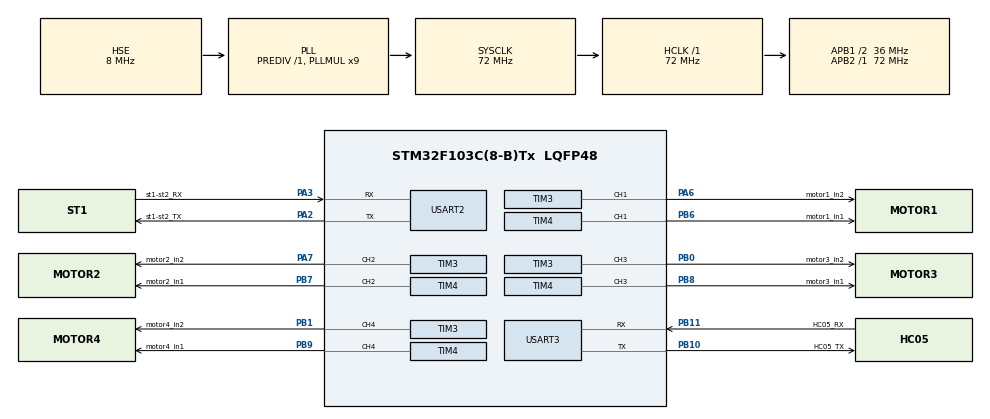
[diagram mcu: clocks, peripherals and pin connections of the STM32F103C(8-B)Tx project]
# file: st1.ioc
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Dma.Request0=USART3_RX
Dma.Request1=USART2_TX
Dma.Request2=USART2_RX
Dma.Request3=USART3_TX
Dma.USART2_RX.2.Direction=DMA_PERIPH_TO_MEMORY
Dma.USART2_RX.2.Instance=DMA1_Channel6
Dma.USART2_RX.2.MemDataAlignment=DMA_MDATAALIGN_BYTE
Dma.USART2_RX.2.MemInc=DMA_MINC_ENABLE
Dma.USART2_RX.2.Mode=DMA_NORMAL
Dma.USART2_RX.2.PeriphDataAlignment=DMA_PDATAALIGN_BYTE
Dma.USART2_RX.2.PeriphInc=DMA_PINC_DISABLE
Dma.USART2_RX.2.Priority=DMA_PRIORITY_LOW
Dma.USART2_TX.1.Direction=DMA_MEMORY_TO_PERIPH
Dma.USART2_TX.1.Instance=DMA1_Channel7
Dma.USART2_TX.1.MemDataAlignment=DMA_MDATAALIGN_BYTE
Dma.USART2_TX.1.MemInc=DMA_MINC_ENABLE
Dma.USART2_TX.1.Mode=DMA_NORMAL
Dma.USART2_TX.1.PeriphDataAlignment=DMA_PDATAALIGN_BYTE
Dma.USART2_TX.1.PeriphInc=DMA_PINC_DISABLE
Dma.USART2_TX.1.Priority=DMA_PRIORITY_LOW
Dma.USART3_RX.0.Direction=DMA_PERIPH_TO_MEMORY
Dma.USART3_RX.0.Instance=DMA1_Channel3
Dma.USART3_RX.0.MemDataAlignment=DMA_MDATAALIGN_BYTE
Dma.USART3_RX.0.MemInc=DMA_MINC_ENABLE
Dma.USART3_RX.0.Mode=DMA_NORMAL
Dma.USART3_RX.0.PeriphDataAlignment=DMA_PDATAALIGN_BYTE
Dma.USART3_RX.0.PeriphInc=DMA_PINC_DISABLE
Dma.USART3_RX.0.Priority=DMA_PRIORITY_LOW
Dma.USART3_TX.3.Direction=DMA_MEMORY_TO_PERIPH
Dma.USART3_TX.3.Instance=DMA1_Channel2
Dma.USART3_TX.3.MemDataAlignment=DMA_MDATAALIGN_BYTE
Dma.USART3_TX.3.MemInc=DMA_MINC_ENABLE
Dma.USART3_TX.3.Mode=DMA_NORMAL
Dma.USART3_TX.3.PeriphDataAlignment=DMA_PDATAALIGN_BYTE
Dma.USART3_TX.3.PeriphInc=DMA_PINC_DISABLE
Dma.USART3_TX.3.Priority=DMA_PRIORITY_LOW
Mcu.Family=STM32F1
Mcu.Name=STM32F103C(8-B)Tx
Mcu.Package=LQFP48
NVIC.DMA1_Channel2_IRQn=true\:0\:0\:false\:false\:true\:false\:true\:true
NVIC.DMA1_Channel3_IRQn=true\:0\:0\:false\:false\:true\:false\:true\:true
NVIC.DMA1_Channel6_IRQn=true\:0\:0\:false\:false\:true\:false\:true\:true
NVIC.DMA1_Channel7_IRQn=true\:0\:0\:false\:false\:true\:false\:true\:true
NVIC.PriorityGroup=NVIC_PRIORITYGROUP_4
NVIC.USART2_IRQn=true\:0\:0\:false\:false\:true\:false\:true\:true
NVIC.USART3_IRQn=true\:0\:0\:false\:false\:true\:false\:true\:true
PA13.Mode=Serial_Wire
PA13.Signal=SYS_JTMS-SWDIO
PA14.Mode=Serial_Wire
PA14.Signal=SYS_JTCK-SWCLK
PA2.GPIO_Label=st1-st2_TX
PA2.Mode=Asynchronous
PA2.Signal=USART2_TX
PA3.GPIO_Label=st1-st2_RX
PA3.Mode=Asynchronous
PA3.Signal=USART2_RX
PA6.GPIO_Label=motor1_in2
PA6.Signal=S_TIM3_CH1
PA7.GPIO_Label=motor2_in2
PA7.Signal=S_TIM3_CH2
PB0.GPIO_Label=motor3_in2
PB0.Signal=S_TIM3_CH3
PB1.GPIO_Label=motor4_in2
PB1.Signal=S_TIM3_CH4
PB10.GPIO_Label=HC05_TX
PB10.Mode=Asynchronous
PB10.Signal=USART3_TX
PB11.GPIO_Label=HC05_RX
PB11.Mode=Asynchronous
PB11.Signal=USART3_RX
PB6.GPIO_Label=motor1_in1
PB6.Signal=S_TIM4_CH1
PB7.GPIO_Label=motor2_in1
PB7.Signal=S_TIM4_CH2
PB8.GPIO_Label=motor3_in1
PB8.Signal=S_TIM4_CH3
PB9.GPIO_Label=motor4_in1
PB9.Signal=S_TIM4_CH4
PD0-OSC_IN.Mode=HSE-External-Oscillator
PD0-OSC_IN.Signal=RCC_OSC_IN
PD1-OSC_OUT.Mode=HSE-External-Oscillator
PD1-OSC_OUT.Signal=RCC_OSC_OUT
ProjectManager.HeapSize=0x200
ProjectManager.StackSize=0x400
ProjectManager.TargetToolchain=CMake
RCC.AHBFreq_Value=72000000
RCC.APB1CLKDivider=RCC_HCLK_DIV2
RCC.APB1Freq_Value=36000000
RCC.APB1TimFreq_Value=72000000
RCC.APB2Freq_Value=72000000
RCC.APB2TimFreq_Value=72000000
RCC.HCLKFreq_Value=72000000
RCC.PLLMUL=RCC_PLL_MUL9
RCC.PLLSourceVirtual=RCC_PLLSOURCE_HSE
RCC.SYSCLKFreq_VALUE=72000000
RCC.SYSCLKSource=RCC_SYSCLKSOURCE_PLLCLK
RCC.USBFreq_Value=72000000
SH.S_TIM3_CH1.0=TIM3_CH1,PWM Generation1 CH1
SH.S_TIM3_CH2.0=TIM3_CH2,PWM Generation2 CH2
SH.S_TIM3_CH3.0=TIM3_CH3,PWM Generation3 CH3
SH.S_TIM3_CH4.0=TIM3_CH4,PWM Generation4 CH4
SH.S_TIM4_CH1.0=TIM4_CH1,PWM Generation1 CH1
SH.S_TIM4_CH2.0=TIM4_CH2,PWM Generation2 CH2
SH.S_TIM4_CH3.0=TIM4_CH3,PWM Generation3 CH3
SH.S_TIM4_CH4.0=TIM4_CH4,PWM Generation4 CH4
TIM3.Channel-PWM\ Generation1\ CH1=TIM_CHANNEL_1
TIM3.Channel-PWM\ Generation2\ CH2=TIM_CHANNEL_2
TIM3.Channel-PWM\ Generation3\ CH3=TIM_CHANNEL_3
TIM3.Channel-PWM\ Generation4\ CH4=TIM_CHANNEL_4
TIM3.OCFastMode_PWM-PWM\ Generation1\ CH1=TIM_OCFAST_DISABLE
TIM3.OCFastMode_PWM-PWM\ Generation2\ CH2=TIM_OCFAST_DISABLE
TIM3.Period=99
TIM3.Prescaler=71
TIM4.Channel-PWM\ Generation1\ CH1=TIM_CHANNEL_1
TIM4.Channel-PWM\ Generation2\ CH2=TIM_CHANNEL_2
TIM4.Channel-PWM\ Generation3\ CH3=TIM_CHANNEL_3
TIM4.Channel-PWM\ Generation4\ CH4=TIM_CHANNEL_4
TIM4.Period=99
TIM4.Prescaler=71
USART2.VirtualMode=VM_ASYNC
USART3.VirtualMode=VM_ASYNC
VP_TIM3_VS_ClockSourceINT.Mode=Internal
VP_TIM4_VS_ClockSourceINT.Mode=Internal
board=custom

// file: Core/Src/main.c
/* USER CODE BEGIN Header */
/**
  ******************************************************************************
  * @file           : main.c
  * @brief          : Main program body
  ******************************************************************************
  * @attention
  *
  * Copyright (c) 2025 STMicroelectronics.
  * All rights reserved.
  *
  * This software is licensed under terms that can be found in the LICENSE file
  * in the root directory of this software component.
  * If no LICENSE file comes with this software, it is provided AS-IS.
  *
  ******************************************************************************
  */
/* USER CODE END Header */
#include "main.h"
#include "dma.h"
#include "stm32f1xx_hal.h"
#include "tim.h"
#include "usart.h"
#include "gpio.h"

/* USER CODE BEGIN Includes */
#include "chassis.h"
#include "communication.h"
#include <sys/types.h>
/* USER CODE END Includes */

void SystemClock_Config(void);

/* USER CODE BEGIN 0 */
void robot_init(){
  chassis_init();
  communication_init();
}
void robot_run()
{
  parse_hc05_protocol_data(uart_receivemessage,PACKET_LENGTH);
  send_mcn_data(uart_receivemessage,PACKET_LENGTH);
  comm_change_chassis();
  chassis_motion();
  HAL_Delay(DELAY_TIME);
}
/* USER CODE END 0 */

int main(void)
{

  /* MCU Configuration--------------------------------------------------------*/

  /* Reset of all peripherals, Initializes the Flash interface and the Systick. */
  HAL_Init();

  /* Configure the system clock */
  SystemClock_Config();

  /* Initialize all configured peripherals */
  MX_GPIO_Init();
  MX_DMA_Init();
  MX_TIM4_Init();
  MX_USART2_UART_Init();
  MX_USART3_UART_Init();
  MX_TIM3_Init();
  /* USER CODE BEGIN 2 */
  robot_init();
  communication_start();
  HAL_Delay(500);
  /* USER CODE END 2 */

  /* Infinite loop */
  while (1)
  {
    robot_run();
  }
}

void SystemClock_Config(void)
{
  RCC_OscInitTypeDef RCC_OscInitStruct = {0};
  RCC_ClkInitTypeDef RCC_ClkInitStruct = {0};

  /** Initializes the RCC Oscillators according to the specified parameters
  * in the RCC_OscInitTypeDef structure.
  */
  RCC_OscInitStruct.OscillatorType = RCC_OSCILLATORTYPE_HSE;
  RCC_OscInitStruct.HSEState = RCC_HSE_ON;
  RCC_OscInitStruct.HSEPredivValue = RCC_HSE_PREDIV_DIV1;
  RCC_OscInitStruct.HSIState = RCC_HSI_ON;
  RCC_OscInitStruct.PLL.PLLState = RCC_PLL_ON;
  RCC_OscInitStruct.PLL.PLLSource = RCC_PLLSOURCE_HSE;
  RCC_OscInitStruct.PLL.PLLMUL = RCC_PLL_MUL9;
  if (HAL_RCC_OscConfig(&RCC_OscInitStruct) != HAL_OK)
  {
    Error_Handler();
  }

  /** Initializes the CPU, AHB and APB buses clocks
  */
  RCC_ClkInitStruct.ClockType = RCC_CLOCKTYPE_HCLK|RCC_CLOCKTYPE_SYSCLK
                              |RCC_CLOCKTYPE_PCLK1|RCC_CLOCKTYPE_PCLK2;
  RCC_ClkInitStruct.SYSCLKSource = RCC_SYSCLKSOURCE_PLLCLK;
  RCC_ClkInitStruct.AHBCLKDivider = RCC_SYSCLK_DIV1;
  RCC_ClkInitStruct.APB1CLKDivider = RCC_HCLK_DIV2;
  RCC_ClkInitStruct.APB2CLKDivider = RCC_HCLK_DIV1;

  if (HAL_RCC_ClockConfig(&RCC_ClkInitStruct, FLASH_LATENCY_2) != HAL_OK)
  {
    Error_Handler();
  }
}

void Error_Handler(void)
{
  __disable_irq();
  while (1)
  {
  }
}
